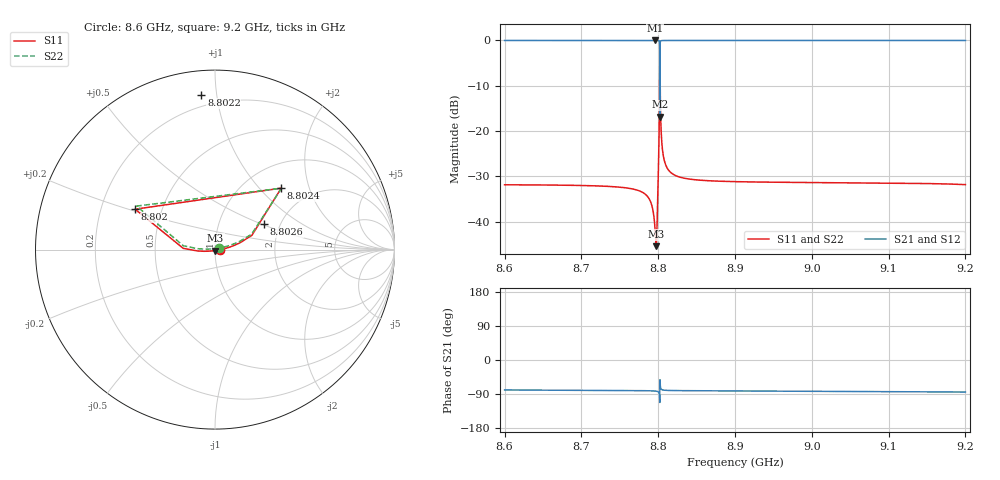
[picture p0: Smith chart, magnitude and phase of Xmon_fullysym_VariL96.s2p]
! Sonnet Data File
! From: emgraph Version : 16.52
! From Project: 171117_Xmon_fullysym
! Data is De-embedded
! Data File Written: 11/26/2017 21:44:46
!< HDATE 11/26/2017 17:24:49
!< MDATE 11/26/2017 17:24:49
!< PARAMS
!< Lj = 11.0
!< Gap = 1.0
!< Pwid = 2000.0
!< Airgap = 6.0
!< Width = 10.0
!< Lj1 = 9.6
!< END PARAMS
# GHZ S MA R 50.90000
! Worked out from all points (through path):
!   3001 points, 8.6 GHz to 9.2 GHz, reference 50.9 ohm
!   highest |S21| = 0.00 dB at 8.796 GHz (marker M1); lowest = -16.8 dB at 8.8022 GHz (marker M2)
!   lowest |S11| = -45.4 dB at 8.7974 GHz (marker M3), VSWR 1.01, Z = 51 - j0.539 ohm
!   |S11| at or under -10 dB: start of sweep to 8.8018 GHz; 8.8026 GHz to end of sweep
!   |S22| runs from -45.1 to -1.2 dB; largest |S21 - S12| = 5.9e-11
!   S11 on the Smith chart (normalised r, x): 8.6 GHz: 1.05, -0.00; 8.802 GHz: 0.35, +0.21; 8.8022 GHz: 0.13, +0.91; 8.8024 GHz: 1.45, +1.33; 8.8026 GHz: 1.65, +0.51; 9.2 GHz: 1.05, -0.01
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8.6  0.02558 -0.3  0.9997 -79.0  0.9997 -79.0  0.02558 22.3
!< P1 F=8.6 Eeff=(6.44845572 -2.9799e-5) Z0=(50.9087207 1.17006e-4) R=0.0 C=0.0
!< P2 F=8.6 Eeff=(6.44845572 -2.9799e-5) Z0=(50.9087207 1.17006e-4) R=0.0 C=0.0
8.7  0.02512 -1.7  0.9997 -80.0  0.9997 -80.0  0.02512 21.8
8.7792  0.02119 -5.3  0.9998 -80.9  0.9998 -80.9  0.02119 23.4
8.79  0.01667 -9.8  0.9998 -81.3  0.9998 -81.3  0.01668 27.3
8.796  0.008083 -33.4  0.9999 -81.9  0.9999 -81.9  0.008167 50.2
8.7974  0.005378 -79.4  0.9999 -82.3  0.9999 -82.3  0.005583 95.0
8.7986  0.009884 -139.8  0.9998 -82.8  0.9998 -82.8  0.01008 152.5
8.8002  0.03609 -166.0  0.9988 -84.4  0.9988 -84.4  0.03626 175.4
8.802  0.4986 153.2  0.8172 -112.1  0.8172 -112.1  0.4995 151.0
8.8022  0.8652 95.0  0.1441 -62.4  0.1441 -62.4  0.8666 93.9
8.8024  0.5036 42.9  0.8212 -52.2  0.8212 -52.2  0.5044 42.7
8.8026  0.3063 27.6  0.9389 -64.5  0.9389 -64.5  0.3068 28.3
8.8044  0.08129 9.4  0.9962 -77.7  0.9962 -77.7  0.08135 15.9
8.8054  0.06418 7.2  0.9977 -78.7  0.9977 -78.7  0.06422 15.8
8.8064  0.05519 5.8  0.9983 -79.2  0.9983 -79.2  0.05521 16.0
8.809  0.04417 3.7  0.999 -79.9  0.999 -79.9  0.04418 16.7
8.8188  0.03367 0.6  0.9994 -80.6  0.9994 -80.6  0.03368 18.3
8.8432  0.02937 -1.3  0.9996 -81.0  0.9996 -81.0  0.02937 19.2
8.9002  0.0277 -2.7  0.9996 -81.7  0.9996 -81.7  0.0277 19.4
9.0002  0.02708 -4.1  0.9996 -82.6  0.9996 -82.6  0.02708 18.9
9.1  0.02672 -5.5  0.9996 -83.6  0.9996 -83.6  0.02672 18.3
9.2  0.02568 -7.1  0.9997 -84.6  0.9997 -84.6  0.02568 18.0
